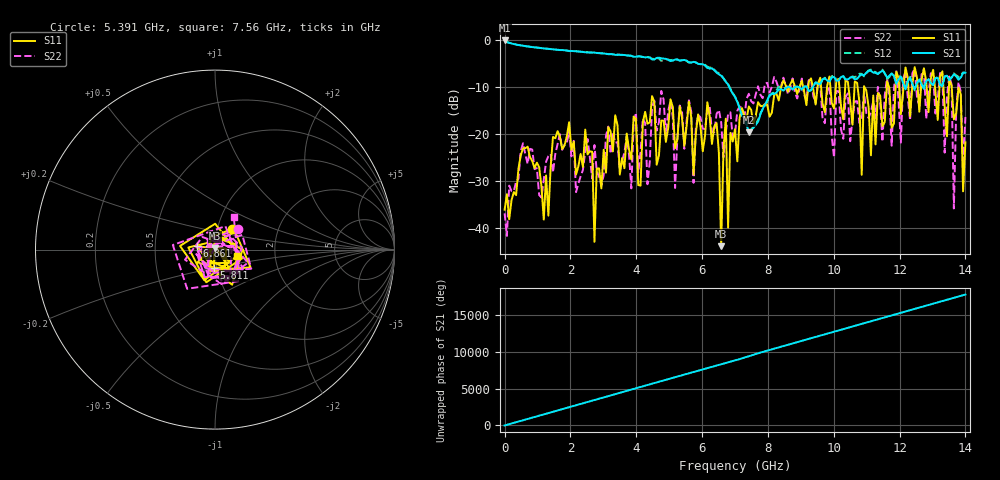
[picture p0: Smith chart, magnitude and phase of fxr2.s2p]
#  HZ  S  RI  R  50.00
! Rohde & Schwarz Vector Network Analyzer
! Rohde-Schwarz,ZNLE14-2Port,1323001264200055,1.71.1.10-23.02.1.238
! Created: UTC 1/21/2025, 7:09:58 AM
! freq[Hz]  re:S11  im:S11  re:S21  im:S21  re:S12  im:S12  re:S22  im:S22
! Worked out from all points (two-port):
!   201 points, 1 MHz to 14 GHz, reference 50 ohm
!   highest |S21| = -0.06 dB at 1 MHz (marker M1); lowest = -19.7 dB at 7.42 GHz (marker M2)
!   |S21| within 3 dB of the highest: start of sweep to 3.324 GHz
!   lowest |S11| = -44.0 dB at 6.581 GHz (marker M3), VSWR 1.01, Z = 49.9 + j0.623 ohm
!   |S11| at or under -10 dB: start of sweep to 8.403 GHz; 10.93 GHz to 11.61 GHz (676.5 MHz wide, 6 % of centre); 13.58 GHz to end of sweep (the widest 3 of 19)
!   |S22| runs from -41.8 to -6.1 dB; largest |S21 - S12| = 0.042
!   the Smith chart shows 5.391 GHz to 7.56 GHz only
!   S11 on the Smith chart (normalised r, x): 5.391 GHz: 1.18, +0.28; 5.811 GHz: 0.97, -0.20; 6.861 GHz: 0.82, +0.03; 7.56 GHz: 1.28, -0.09
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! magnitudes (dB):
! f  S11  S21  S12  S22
! 1 MHz  -36.2  -0.1  -0.1  -37.0
! 2.381 GHz  -27.0  -2.5  -2.5  -27.7
! 2.731 GHz  -43.0  -2.7  -2.7  -22.4
! 3.361 GHz  -16.0  -3.1  -3.0  -21.9
! 4.691 GHz  -24.6  -3.7  -3.9  -17.5
! 5.391 GHz  -16.5  -4.3  -4.3  -15.3
! 5.811 GHz  -19.9  -4.8  -4.7  -18.7
! 6.441 GHz  -17.7  -6.9  -6.8  -15.7
! 6.581 GHz  -44.0  -7.6  -7.4  -17.5
! 6.861 GHz  -19.8  -10.5  -10.3  -15.4
! 7 GHz  -19.0  -12.1  -12.0  -20.1
! 7.42 GHz  -14.1  -19.7  -19.5  -11.4
! 7.56 GHz  -17.8  -18.7  -18.5  -13.5
! 9.38 GHz  -10.6  -9.8  -9.6  -11.9
! 10.71 GHz  -9.1  -8.2  -7.7  -13.0
! 10.85 GHz  -28.7  -7.3  -7.2  -17.0
! 10.92 GHz  -9.8  -7.5  -7.7  -11.1
! 11.69 GHz  -10.2  -7.6  -7.9  -12.6
! 13.51 GHz  -8.4  -8.5  -8.4  -7.7
! 13.65 GHz  -16.9  -7.3  -7.1  -35.9
! 13.79 GHz  -10.1  -8.4  -7.9  -9.0
! 14 GHz  -21.8  -6.9  -7.0  -16.4
